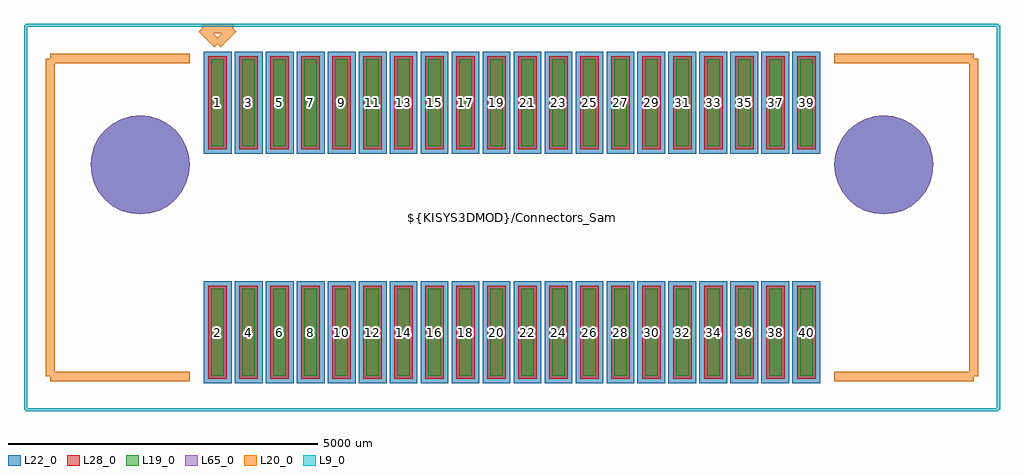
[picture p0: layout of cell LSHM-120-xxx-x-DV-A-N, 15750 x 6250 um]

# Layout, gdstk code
import gdstk
lib = gdstk.Library(unit=1e-6, precision=1e-09)
def R(c, l, rs):  # rectangles x0, y0, x1, y1
    for r in rs: c.add(gdstk.rectangle(r[:2], r[2:], *l))
def A(c, l, x, y, w, h, nx, ny, dx, dy):  # array of equal rectangles
    R(c, l, [(x+i*dx, y+j*dy, x+i*dx+w, y+j*dy+h) for i in range(nx) for j in range(ny)])
def P(c, l, *ps):  # polygons
    for p in ps: c.add(gdstk.Polygon(p, *l))
L9_0 = (9, 0)
L19_0 = (19, 0)
L20_0 = (20, 0)
L22_0 = (22, 0)
L28_0 = (28, 0)
L65_0 = (65, 0)

lshm_120_xxx_x_dv_a_n = lib.new_cell('LSHM-120-xxx-x-DV-A-N')
A(lshm_120_xxx_x_dv_a_n, L19_0, -4850, -2550, 200, 1400, 20, 2, 500, 3700)
A(lshm_120_xxx_x_dv_a_n, L22_0, -4975, -2675, 450, 1650, 20, 2, 500, 3700)
P(lshm_120_xxx_x_dv_a_n, L22_0, [(-5200,850),(-5215.372,1006.072),(-5260.896,1156.147),(-5334.824,1294.456),(-5434.315,1415.685),(-5555.544,1515.176),(-5693.853,1589.104),(-5843.928,1634.628),(-6000,1650),(-6156.072,1634.628),(-6306.147,1589.104),(-6444.456,1515.176),(-6565.685,1415.685),(-6665.176,1294.456),(-6739.104,1156.147),(-6784.628,1006.072),(-6800,850),(-6784.628,693.928),(-6739.104,543.853),(-6665.176,405.544),(-6565.685,284.315),(-6444.456,184.824),(-6306.147,110.896),(-6156.072,65.372),(-6000,50),(-5843.928,65.372),(-5693.853,110.896),(-5555.544,184.824),(-5434.315,284.315),(-5334.824,405.544),(-5260.896,543.853),(-5215.372,693.928)],
  [(6800,850),(6784.628,1006.072),(6739.104,1156.147),(6665.176,1294.456),(6565.685,1415.685),(6444.456,1515.176),(6306.147,1589.104),(6156.072,1634.628),(6000,1650),(5843.928,1634.628),(5693.853,1589.104),(5555.544,1515.176),(5434.315,1415.685),(5334.824,1294.456),(5260.896,1156.147),(5215.372,1006.072),(5200,850),(5215.372,693.928),(5260.896,543.853),(5334.824,405.544),(5434.315,284.315),(5555.544,184.824),(5693.853,110.896),(5843.928,65.372),(6000,50),(6156.072,65.372),(6306.147,110.896),(6444.456,184.824),(6565.685,284.315),(6665.176,405.544),(6739.104,543.853),(6784.628,693.928)])
A(lshm_120_xxx_x_dv_a_n, L28_0, -4900, -2600, 300, 1500, 20, 2, 500, 3700)
P(lshm_120_xxx_x_dv_a_n, L65_0, [(-5200,850),(-5215.372,1006.072),(-5260.896,1156.147),(-5334.824,1294.456),(-5434.315,1415.685),(-5555.544,1515.176),(-5693.853,1589.104),(-5843.928,1634.628),(-6000,1650),(-6156.072,1634.628),(-6306.147,1589.104),(-6444.456,1515.176),(-6565.685,1415.685),(-6665.176,1294.456),(-6739.104,1156.147),(-6784.628,1006.072),(-6800,850),(-6784.628,693.928),(-6739.104,543.853),(-6665.176,405.544),(-6565.685,284.315),(-6444.456,184.824),(-6306.147,110.896),(-6156.072,65.372),(-6000,50),(-5843.928,65.372),(-5693.853,110.896),(-5555.544,184.824),(-5434.315,284.315),(-5334.824,405.544),(-5260.896,543.853),(-5215.372,693.928)],
  [(6800,850),(6784.628,1006.072),(6739.104,1156.147),(6665.176,1294.456),(6565.685,1415.685),(6444.456,1515.176),(6306.147,1589.104),(6156.072,1634.628),(6000,1650),(5843.928,1634.628),(5693.853,1589.104),(5555.544,1515.176),(5434.315,1415.685),(5334.824,1294.456),(5260.896,1156.147),(5215.372,1006.072),(5200,850),(5215.372,693.928),(5260.896,543.853),(5334.824,405.544),(5434.315,284.315),(5555.544,184.824),(5693.853,110.896),(5843.928,65.372),(6000,50),(6156.072,65.372),(6306.147,110.896),(6444.456,184.824),(6565.685,284.315),(6665.176,405.544),(6739.104,543.853),(6784.628,693.928)])
lshm_120_xxx_x_dv_a_n.add(gdstk.FlexPath([(7450,2565),(5200,2565)], 149.998, ends="flush", simple_path=True, layer=20, datatype=0))  # L20_0
lshm_120_xxx_x_dv_a_n.add(gdstk.FlexPath([(-7450,2565),(-5200,2565)], 149.998, ends="flush", simple_path=True, layer=20, datatype=0))  # L20_0
lshm_120_xxx_x_dv_a_n.add(gdstk.FlexPath([(7450,-2565),(5200,-2565)], 149.998, ends="flush", simple_path=True, layer=20, datatype=0))  # L20_0
lshm_120_xxx_x_dv_a_n.add(gdstk.FlexPath([(-7450,-2565),(-5200,-2565)], 149.998, ends="flush", simple_path=True, layer=20, datatype=0))  # L20_0
lshm_120_xxx_x_dv_a_n.add(gdstk.FlexPath([(7450,-2565),(7450,2565)], 149.998, ends="flush", simple_path=True, layer=20, datatype=0))  # L20_0
lshm_120_xxx_x_dv_a_n.add(gdstk.FlexPath([(-7450,-2565),(-7450,2565)], 149.998, ends="flush", simple_path=True, layer=20, datatype=0))  # L20_0
lshm_120_xxx_x_dv_a_n.add(gdstk.FlexPath([(-4750,2800),(-4500,3050)], 149.998, ends="flush", simple_path=True, layer=20, datatype=0))  # L20_0
lshm_120_xxx_x_dv_a_n.add(gdstk.FlexPath([(-4500,3050),(-5000,3050)], 149.998, ends="flush", simple_path=True, layer=20, datatype=0))  # L20_0
lshm_120_xxx_x_dv_a_n.add(gdstk.FlexPath([(-5000,3050),(-4750,2800)], 149.998, ends="flush", simple_path=True, layer=20, datatype=0))  # L20_0
lshm_120_xxx_x_dv_a_n.add(gdstk.FlexPath([(7850,-3100),(7850,3100)], 50, ends="flush", simple_path=True, layer=9, datatype=0))  # L9_0
lshm_120_xxx_x_dv_a_n.add(gdstk.FlexPath([(-7850,-3100),(-7850,3100)], 50, ends="flush", simple_path=True, layer=9, datatype=0))  # L9_0
lshm_120_xxx_x_dv_a_n.add(gdstk.FlexPath([(-7850,3100),(7850,3100)], 50, ends="flush", simple_path=True, layer=9, datatype=0))  # L9_0
lshm_120_xxx_x_dv_a_n.add(gdstk.FlexPath([(-7850,-3100),(7850,-3100)], 50, ends="flush", simple_path=True, layer=9, datatype=0))  # L9_0
lshm_120_xxx_x_dv_a_n.add(gdstk.Label('${KISYS3DMOD}/Connectors_Samtec.3dshapes/LSHM-120-xxx-x-DV-A-N.wrl', (0,0), layer=12, texttype=0))
lshm_120_xxx_x_dv_a_n.add(gdstk.Label('2', (-4750,-1850), layer=28, texttype=0))
lshm_120_xxx_x_dv_a_n.add(gdstk.Label('1', (-4750,1850), layer=28, texttype=0))
lshm_120_xxx_x_dv_a_n.add(gdstk.Label('3', (-4250,1850), layer=28, texttype=0))
lshm_120_xxx_x_dv_a_n.add(gdstk.Label('4', (-4250,-1850), layer=28, texttype=0))
lshm_120_xxx_x_dv_a_n.add(gdstk.Label('8', (-3250,-1850), layer=28, texttype=0))
lshm_120_xxx_x_dv_a_n.add(gdstk.Label('7', (-3250,1850), layer=28, texttype=0))
lshm_120_xxx_x_dv_a_n.add(gdstk.Label('5', (-3750,1850), layer=28, texttype=0))
lshm_120_xxx_x_dv_a_n.add(gdstk.Label('6', (-3750,-1850), layer=28, texttype=0))
lshm_120_xxx_x_dv_a_n.add(gdstk.Label('14', (-1750,-1850), layer=28, texttype=0))
lshm_120_xxx_x_dv_a_n.add(gdstk.Label('13', (-1750,1850), layer=28, texttype=0))
lshm_120_xxx_x_dv_a_n.add(gdstk.Label('15', (-1250,1850), layer=28, texttype=0))
lshm_120_xxx_x_dv_a_n.add(gdstk.Label('16', (-1250,-1850), layer=28, texttype=0))
lshm_120_xxx_x_dv_a_n.add(gdstk.Label('12', (-2250,-1850), layer=28, texttype=0))
lshm_120_xxx_x_dv_a_n.add(gdstk.Label('11', (-2250,1850), layer=28, texttype=0))
lshm_120_xxx_x_dv_a_n.add(gdstk.Label('9', (-2750,1850), layer=28, texttype=0))
lshm_120_xxx_x_dv_a_n.add(gdstk.Label('10', (-2750,-1850), layer=28, texttype=0))
lshm_120_xxx_x_dv_a_n.add(gdstk.Label('26', (1250,-1850), layer=28, texttype=0))
lshm_120_xxx_x_dv_a_n.add(gdstk.Label('25', (1250,1850), layer=28, texttype=0))
lshm_120_xxx_x_dv_a_n.add(gdstk.Label('27', (1750,1850), layer=28, texttype=0))
lshm_120_xxx_x_dv_a_n.add(gdstk.Label('28', (1750,-1850), layer=28, texttype=0))
lshm_120_xxx_x_dv_a_n.add(gdstk.Label('32', (2750,-1850), layer=28, texttype=0))
lshm_120_xxx_x_dv_a_n.add(gdstk.Label('31', (2750,1850), layer=28, texttype=0))
lshm_120_xxx_x_dv_a_n.add(gdstk.Label('29', (2250,1850), layer=28, texttype=0))
lshm_120_xxx_x_dv_a_n.add(gdstk.Label('30', (2250,-1850), layer=28, texttype=0))
lshm_120_xxx_x_dv_a_n.add(gdstk.Label('22', (250,-1850), layer=28, texttype=0))
lshm_120_xxx_x_dv_a_n.add(gdstk.Label('21', (250,1850), layer=28, texttype=0))
lshm_120_xxx_x_dv_a_n.add(gdstk.Label('23', (750,1850), layer=28, texttype=0))
lshm_120_xxx_x_dv_a_n.add(gdstk.Label('24', (750,-1850), layer=28, texttype=0))
lshm_120_xxx_x_dv_a_n.add(gdstk.Label('20', (-250,-1850), layer=28, texttype=0))
lshm_120_xxx_x_dv_a_n.add(gdstk.Label('19', (-250,1850), layer=28, texttype=0))
lshm_120_xxx_x_dv_a_n.add(gdstk.Label('17', (-750,1850), layer=28, texttype=0))
lshm_120_xxx_x_dv_a_n.add(gdstk.Label('18', (-750,-1850), layer=28, texttype=0))
lshm_120_xxx_x_dv_a_n.add(gdstk.Label('38', (4250,-1850), layer=28, texttype=0))
lshm_120_xxx_x_dv_a_n.add(gdstk.Label('37', (4250,1850), layer=28, texttype=0))
lshm_120_xxx_x_dv_a_n.add(gdstk.Label('39', (4750,1850), layer=28, texttype=0))
lshm_120_xxx_x_dv_a_n.add(gdstk.Label('40', (4750,-1850), layer=28, texttype=0))
lshm_120_xxx_x_dv_a_n.add(gdstk.Label('36', (3750,-1850), layer=28, texttype=0))
lshm_120_xxx_x_dv_a_n.add(gdstk.Label('35', (3750,1850), layer=28, texttype=0))
lshm_120_xxx_x_dv_a_n.add(gdstk.Label('33', (3250,1850), layer=28, texttype=0))
lshm_120_xxx_x_dv_a_n.add(gdstk.Label('34', (3250,-1850), layer=28, texttype=0))
lshm_120_xxx_x_dv_a_n.add(gdstk.Label('type', (0,-3850), layer=9, texttype=0))
lshm_120_xxx_x_dv_a_n.add(gdstk.Label('devicename', (-5900,3650), layer=9, texttype=0))

lib.write_gds('LSHM-120-xxx-x-DV-A-N.gds')
